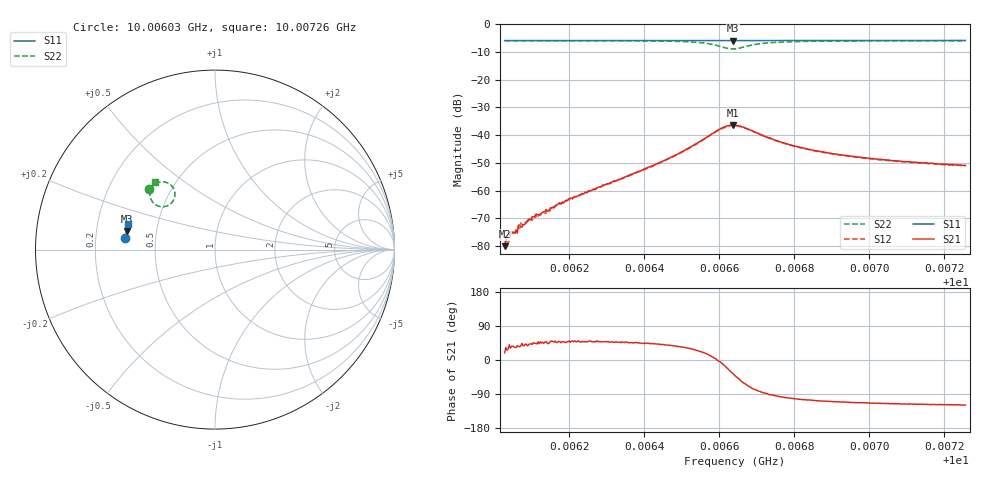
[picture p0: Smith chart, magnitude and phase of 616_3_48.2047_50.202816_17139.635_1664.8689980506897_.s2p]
#  HZ  S  RI  R  50.00
! Rohde & Schwarz Vector Network Analyzer
! Rohde-Schwarz,ZNB20-2Port,1311601062101988,3.16
! Created: UTC 3/20/2024, 12:03:43 PM
! freq[Hz]  re:S11  im:S11  re:S21  im:S21  re:S12  im:S12  re:S22  im:S22
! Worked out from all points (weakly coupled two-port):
!   401 points, 10.00603 GHz to 10.00726 GHz, reference 50 ohm
!   highest |S21| = -36.44 dB at 10.00664 GHz (marker M1); lowest = -80.0 dB at 10.00603 GHz (marker M2)
!   lowest |S11| = -6.0 dB at 10.00664 GHz (marker M3), VSWR 3.02, Z = 16.7 + j4.51 ohm
!   |S11| at or under -10 dB: nowhere
!   |S22| runs from -9.0 to -6.0 dB; largest |S21 - S12| = 0.0011
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1.0006027e10  -0.4992 0.0622  9.43e-05 3.23e-05  0.000125 6.53e-05  -0.3666 0.3377
1.0006033e10  -0.4991 0.0625  0.000125 6.12e-05  9.79e-05 3.88e-05  -0.3662 0.3383
1.0006039e10  -0.4991 0.063  0.000138 0.000116  0.000106 5.76e-05  -0.366 0.3386
1.0006049e10  -0.499 0.0637  0.000136 0.000104  0.000147 0.000111  -0.3654 0.3393
1.0006055e10  -0.4989 0.0641  0.000149 9.62e-05  0.000122 0.000117  -0.365 0.3397
1.0006061e10  -0.499 0.0644  0.000136 0.000103  0.000143 0.000143  -0.3646 0.3402
1.0006067e10  -0.4991 0.0648  0.000195 0.000136  0.000146 0.000148  -0.3642 0.3403
1.0006107e10  -0.4987 0.0675  0.000244 0.000237  0.000228 0.000232  -0.3617 0.3432
1.000619e10  -0.4981 0.0728  0.00046 0.00048  0.000428 0.00051  -0.3559 0.3493
1.0006233e10  -0.4977 0.0758  0.00059 0.000665  0.00054 0.000658  -0.3523 0.3525
1.0006439e10  -0.4958 0.0891  0.00235 0.00212  0.00222 0.00213  -0.3233 0.3718
1.0006513e10  -0.4947 0.0941  0.0047 0.00294  0.00443 0.00311  -0.2962 0.3778
1.0006565e10  -0.4938 0.0975  0.00867 0.00262  0.00833 0.00292  -0.2575 0.3681
1.0006605e10  -0.4928 0.0997  0.0131 -0.00171  0.0128 -0.000922  -0.2242 0.3201
1.0006636e10  -0.4924 0.1009  0.0123 -0.00872  0.0126 -0.00779  -0.2447 0.2576
1.0006642e10  -0.4925 0.1011  0.0113 -0.00995  0.0116 -0.00889  -0.256 0.249
1.000667e10  -0.4926 0.1026  0.00608 -0.0119  0.00676 -0.0114  -0.3102 0.2407
1.000671e10  -0.4926 0.1052  0.00121 -0.0103  0.00166 -0.00997  -0.351 0.2701
1.0006774e10  -0.4922 0.1096  -0.00109 -0.00705  -0.000695 -0.00699  -0.3622 0.3084
1.0006848e10  -0.4914 0.1144  -0.00149 -0.00517  -0.00125 -0.00517  -0.3589 0.3308
1.0007054e10  -0.4887 0.1276  -0.0015 -0.00318  -0.00133 -0.00319  -0.3443 0.3587
1.0007257e10  -0.4856 0.1404  -0.00135 -0.00249  -0.00125 -0.00252  -0.3319 0.3739
